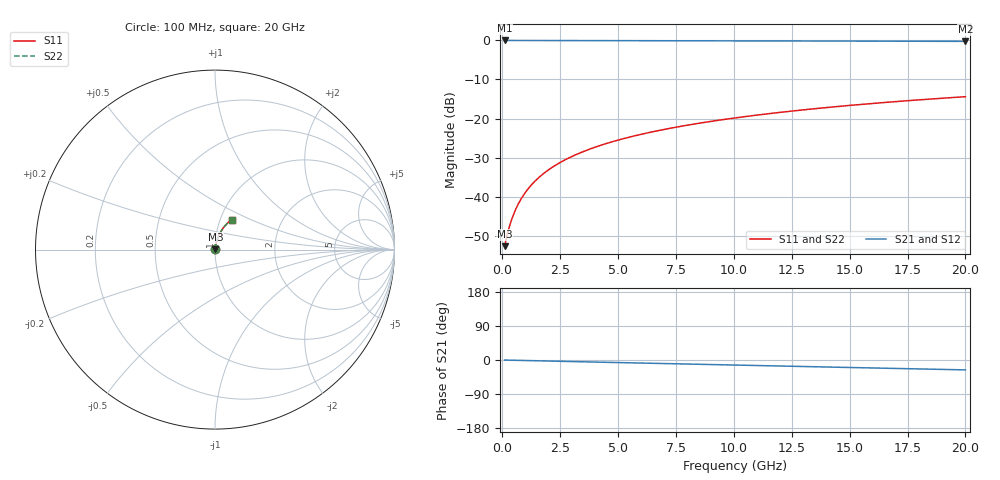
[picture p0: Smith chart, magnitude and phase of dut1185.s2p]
! Touchstone file exported from HFSS 2026.1.0
!  File:  C:/ffzhzh/LocalFiles/Ansys_Project_Files/temp_train_TMRDL_1185_1783162711_43440.aedt
!  Generated:  06:59:43 PM Jul  4, 2026
!  Design:  TMRDL
!  Project:  temp_train_TMRDL_1185_1783162711_43440
! Variables:
!  h_bsmrdl = 2um
!  h_ox = 20um
!  h_rdl = 5um
!  h_sub = 80um
!  h_tmrdl = 5.7um
!  h_tsv = 80um
!  h_via = 3um
!  l_bsmrdl = 300um
!  l_sub = 818.98um
!  l_tmrdl = 418.98um
!  m_sub = 200um
!  pitch = 27.6um
!  r_tsv = 6um
!  s_tmrdl = 10um
!  w_bsmrdl = 18um
!  w_sub = 500um
!  w_tmrdl = 13.91um
!  x_tsv_center1 = 425.935um
!  x_tsv_center2 = 743.935um
!  x_tsv_center3 = 1176.825um
!  x_tsv_center4 = 1494.825um
!  x_tsv_center5 = 1927.715um
!  x_tsv_center6 = 2245.715um
# GHz S MA R 50.000000
! Terminal data exported
! Port[1] = TM_RDL1_1_T1
! Port[2] = TM_RDL1_1_T2
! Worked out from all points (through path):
!   200 points, 100 MHz to 20 GHz, reference 50 ohm
!   highest |S21| = -0.02 dB at 100 MHz (marker M1); lowest = -0.3 dB at 20 GHz (marker M2)
!   group delay of S21, straight-line fit = 3.61 ps
!   lowest |S11| = -52.6 dB at 100 MHz (marker M3), VSWR 1.00, Z = 50.2 + j0.124 ohm
!   |S11| at or under -10 dB: start of sweep to end of sweep
!   |S22| runs from -52.6 to -14.4 dB; largest |S21 - S12| = 3.3e-15
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0.1  0.002338 32.0  0.998 -0.1  0.998 -0.1  0.002338 32.0
! Gamma 0 0 0 0
! Port Impedance 50 0 50 0
0.2  0.003171 48.6  0.9979 -0.3  0.9979 -0.3  0.003171 48.6
0.3  0.004103 57.8  0.9978 -0.4  0.9978 -0.4  0.004103 57.8
0.4  0.005085 63.7  0.9977 -0.6  0.9977 -0.6  0.005084 63.7
0.5  0.0061 67.7  0.9977 -0.7  0.9977 -0.7  0.0061 67.7
0.6  0.007138 70.5  0.9976 -0.8  0.9976 -0.8  0.007138 70.5
0.8  0.009256 74.2  0.9975 -1.1  0.9975 -1.1  0.009256 74.2
1  0.0114 76.3  0.9974 -1.4  0.9974 -1.4  0.0114 76.3
1.2  0.01356 77.6  0.9973 -1.7  0.9973 -1.7  0.01356 77.6
1.4  0.01572 78.5  0.9972 -1.9  0.9972 -1.9  0.01572 78.5
1.7  0.01895 79.2  0.997 -2.3  0.997 -2.3  0.01895 79.2
2.2  0.0243 79.7  0.9966 -3.0  0.9966 -3.0  0.0243 79.7
2.8  0.03064 79.6  0.996 -3.8  0.996 -3.8  0.03064 79.6
3.5  0.0379 79.2  0.9953 -4.8  0.9953 -4.8  0.03791 79.2
4.2  0.04505 78.6  0.9945 -5.7  0.9945 -5.7  0.04505 78.6
5  0.0531 77.8  0.9936 -6.8  0.9936 -6.8  0.0531 77.8
6.8  0.07085 76.0  0.9915 -9.2  0.9915 -9.2  0.07085 76.0
8.3  0.08534 74.4  0.9896 -11.1  0.9896 -11.1  0.08535 74.4
10.1  0.1024 72.4  0.9873 -13.5  0.9873 -13.5  0.1025 72.4
13.4  0.133 68.6  0.9826 -17.7  0.9826 -17.7  0.133 68.6
16.7  0.1624 64.7  0.9772 -21.9  0.9772 -21.9  0.1624 64.7
20  0.1905 60.8  0.9714 -26.1  0.9714 -26.1  0.1906 60.8
